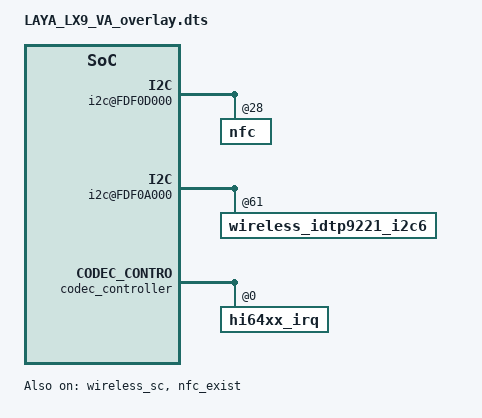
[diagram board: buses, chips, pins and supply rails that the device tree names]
/**
 * Copyright (C) 2014 Hisilicon Ltd.
 *
 *  This program is free software; you can redistribute it and/or modify
 *  it under the terms of the GNU General Public License version 2 as
 *  publishhed by the Free Software Foundation.
 */

/dts-v1/;
/plugin/;
/include/ "LAYA_TUGL_VB_overlay.dtsi"
/include/ "LAYA_LX9_VA_pin.dtsi"
/include/ "LAYA_LX9_VA_modem_pin.dtsi"

/ {
    board_id = <8432>;
};

    &rootparam{
        hisi,boardid = <8 4 3 2>;
        hisi,boardname = "LAYA_LX9_VA";
        hisi,modem_id = <0x37010C00>;
        hisi,product_name = "LAYA-LX9";
    };

    &audio_hw_config {
        audio_capability {
            /*
                use hisilicon wakeup engine.
                true: use hisilicon wakeup engine.
                false: DO NOT use hisilicon wakeup engine.
            */
            wakeup_hisiengine = "false";
            asr_enhance_mic_choose = "1";
        };
    };

    &wireless_sc {
        status = "ok";
    };
    &ncp3902_channel_switch {
        gpio_chgsw_flag_n = <&gpio33 0 0>;
    };
    &amba {
            i2c@FDF0D000 {
                    nfc:nfc@28{
                            clk_status = "xtal";
                    };
            };
            i2c@FDF0A000 {
                status = "ok";
                wireless_idtp9221_i2c6@61 {
                    gpio_en_valid_val = <1>;
                    status = "ok";
                };
            };
    };
    &sensorhub{
                sar{
                        sar1{
                               status = "ok";
                        };
                        sar2{
                                status = "disabled";
                        };
                };
                 rpc{
                     rpc{
                                compatible = "huawei,rpc";
                                file_id = <0x18>;
                                sensor_list_info_id = <24>;
                                sensor_type = "rpc";
                                sensorlist_name = "rpc";
                                mask = <0xFFFF 0x63F 0x63F 0x63F 0x63E 0x63C 0x63E 0x63C
                                        0x63E 0x63C 0xC20F 0xC20F 0x20F 0x20F 0x20F 0x20F
                                        0x20F 0x20F 0x20F 0x20F 0xFFFF 0xFFFF 0xFFFF 0xFFFF
                                        0xFFFF 0xFFFF 0xFFFF 0xFFFF 0xFFFF 0xF 0xFFFF 0xFFFF>;
                                table = <0xFFFF 0x217 0x227 0x207 0x212 0x214 0x222 0x224
                                         0x202 0x204 0x8002 0x8005 0x2 0x3 0x4 0x5
                                         0x6 0x7 0x201 0x1 0xFFFF 0xFFFF 0xFFFF 0xFFFF
                                         0xFFFF 0xFFFF 0xFFFF 0xFFFF 0xFFFF 0x0 0xFFFF 0xFFFF>;
                                default_value = <0x1D>;
                                status = "ok";
                        };
                 };
                light{
                        als1{
                               als_phone_version = <11>;
                        };
                        als2{
                               als_phone_version = <11>;
                        };
                };
    };

    /* audio device beg */
    &codec_controller {
        hi64xx_irq@0 {
            hi6403_codec@0 {
                micbias_modify = <1>; //MICBIAS output 2.7V factory test, change from MAINMIC to MIC4.
            };
        };
    };

	&audio_hw_config {
		product_name = "LAYA";
		hardware_info {
			mic_num = "3";
			mic_type = "000d";/*0001 deputy mic   0002 main mic   0004 deputy mic2   0008 main mic2*/
			status = "ok";
		};
	};

	/*nfc*/
	&nfc_exist {
		hisee_exist_flag = "0";
		status = "ok";
	};

    &fingerprint {
        fingerprint,power_en_gpio = <53>;
    };
